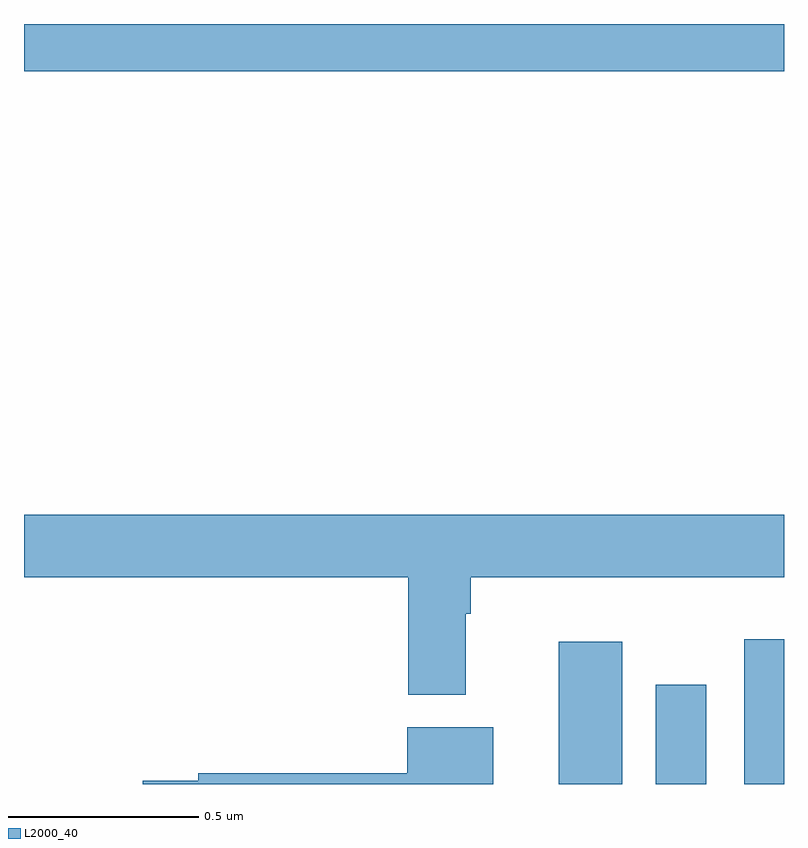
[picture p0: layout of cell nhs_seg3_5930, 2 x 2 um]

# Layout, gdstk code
import gdstk
lib = gdstk.Library(unit=1e-6, precision=1e-09)
def R(c, l, rs):  # rectangles x0, y0, x1, y1
    for r in rs: c.add(gdstk.rectangle(r[:2], r[2:], *l))
def P(c, l, *ps):  # polygons
    for p in ps: c.add(gdstk.Polygon(p, *l))
L2000_40 = (2000, 40)

nhs_seg3_5930 = lib.new_cell('nhs_seg3_5930')
R(nhs_seg3_5930, L2000_40, [(186.407,672.4,186.574,672.775), (186.662,672.4,186.796,672.661), (186.896,672.4,187,672.781), (185,674.276,187,674.4)])
P(nhs_seg3_5930, L2000_40, [(186.163,672.848),(186.176,672.848),(186.176,672.944),(187,672.944),(187,673.108),(185,673.108),(185,672.944),(186.011,672.944),(186.011,672.635),(186.163,672.635)],
  [(186.235,672.55),(186.008,672.55),(186.008,672.428),(185.458,672.428),(185.458,672.408),(185.312,672.408),(185.312,672.4),(186.235,672.4)])

lib.write_gds('nhs_seg3_5930.gds')
